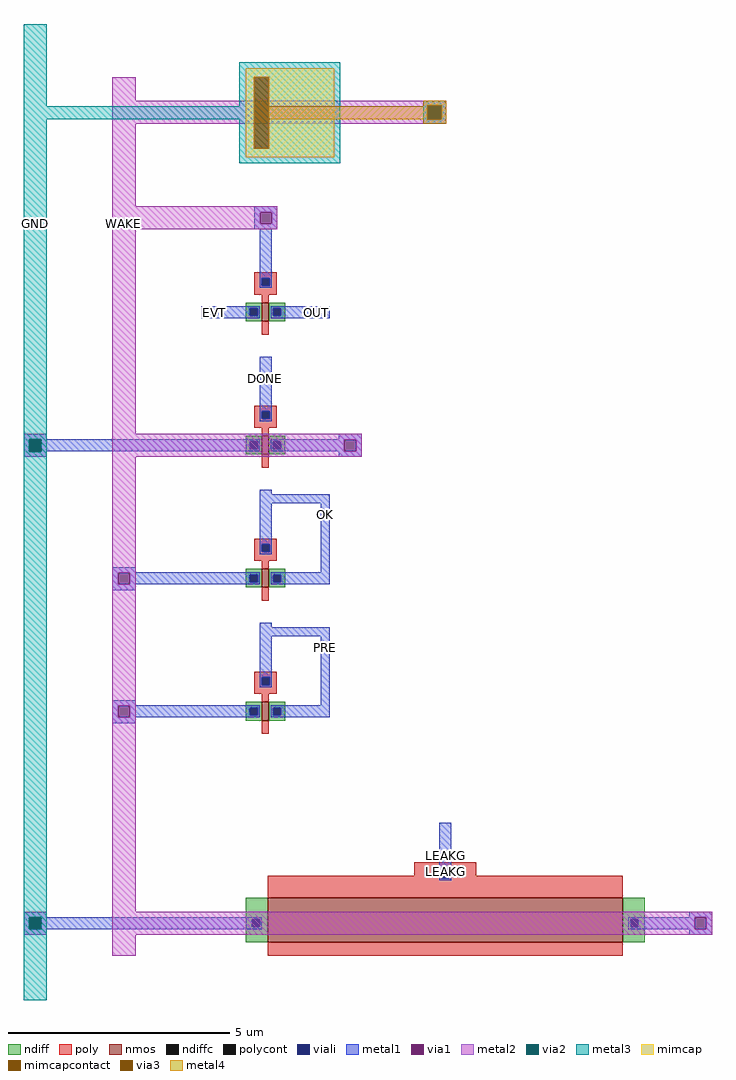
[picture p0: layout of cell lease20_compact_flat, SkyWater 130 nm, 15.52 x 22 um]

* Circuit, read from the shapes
.subckt lease20_compact_flat DONE EVT GND LEAKG OK OUT PRE WAKE
XM1 PRE PRE WAKE VSUBS sky130_fd_pr__nfet_01v8 w=0.42 l=0.15
XM2 OK OK WAKE VSUBS sky130_fd_pr__nfet_01v8 w=0.42 l=0.15
XM3 WAKE DONE GND VSUBS sky130_fd_pr__nfet_01v8 w=0.42 l=0.15
XM4 OUT WAKE EVT VSUBS sky130_fd_pr__nfet_01v8 w=0.42 l=0.15
XM5 WAKE LEAKG GND VSUBS sky130_fd_pr__nfet_01v8 w=1 l=8
XC6 WAKE GND sky130_fd_pr__cap_mim_m3_1 w=2 l=2
.ends

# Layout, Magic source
magic
tech sky130A
<< nmos >>
rect 37 930 52 972
rect 37 630 52 672
rect 37 330 52 372
rect 37 30 52 72
rect 50 -470 850 -370
<< ndiff >>
rect 0 959 37 972
rect 0 942 10 959
rect 27 942 37 959
rect 0 930 37 942
rect 52 959 90 972
rect 52 942 62 959
rect 79 942 90 959
rect 52 930 90 942
rect 0 659 37 672
rect 0 642 10 659
rect 27 642 37 659
rect 0 630 37 642
rect 52 659 90 672
rect 52 642 62 659
rect 79 642 90 659
rect 52 630 90 642
rect 0 359 37 372
rect 0 342 10 359
rect 27 342 37 359
rect 0 330 37 342
rect 52 359 90 372
rect 52 342 62 359
rect 79 342 90 359
rect 52 330 90 342
rect 0 59 37 72
rect 0 42 10 59
rect 27 42 37 59
rect 0 30 37 42
rect 52 59 90 72
rect 52 42 62 59
rect 79 42 90 59
rect 52 30 90 42
rect 0 -418 50 -370
rect 0 -435 15 -418
rect 32 -435 50 -418
rect 0 -470 50 -435
rect 850 -418 900 -370
rect 850 -435 868 -418
rect 885 -435 900 -418
rect 850 -470 900 -435
<< ndiffc >>
rect 10 942 27 959
rect 62 942 79 959
rect 10 642 27 659
rect 62 642 79 659
rect 10 342 27 359
rect 62 342 79 359
rect 10 42 27 59
rect 62 42 79 59
rect 15 -435 32 -418
rect 868 -435 885 -418
<< poly >>
rect 20 1027 70 1040
rect 20 1010 37 1027
rect 54 1010 70 1027
rect 20 990 70 1010
rect 37 972 52 990
rect 37 900 52 930
rect 20 727 70 740
rect 20 710 37 727
rect 54 710 70 727
rect 20 690 70 710
rect 37 672 52 690
rect 37 600 52 630
rect 20 427 70 440
rect 20 410 37 427
rect 54 410 70 427
rect 20 390 70 410
rect 37 372 52 390
rect 37 300 52 330
rect 20 127 70 140
rect 20 110 37 127
rect 54 110 70 127
rect 20 90 70 110
rect 37 72 52 90
rect 37 0 52 30
rect 380 -308 520 -290
rect 380 -320 442 -308
rect 50 -325 442 -320
rect 459 -320 520 -308
rect 459 -325 850 -320
rect 50 -370 850 -325
rect 50 -500 850 -470
<< polycont >>
rect 37 1010 54 1027
rect 37 710 54 727
rect 37 410 54 427
rect 37 110 54 127
rect 442 -325 459 -308
<< viali >>
rect 37 1010 54 1027
rect 10 942 27 959
rect 62 942 79 959
rect 37 710 54 727
rect 10 642 27 659
rect 62 642 79 659
rect 37 410 54 427
rect 10 342 27 359
rect 62 342 79 359
rect 37 110 54 127
rect 10 42 27 59
rect 62 42 79 59
rect 442 -325 459 -308
rect 15 -435 32 -418
rect 868 -435 885 -418
<< metal1 >>
rect 20 1176 72 1189
rect 20 1150 33 1176
rect 59 1150 72 1176
rect 20 1137 72 1150
rect 32 1027 59 1137
rect 32 1010 37 1027
rect 54 1010 59 1027
rect 32 1005 59 1010
rect -100 959 32 964
rect -100 942 10 959
rect 27 942 32 959
rect -100 937 32 942
rect 57 959 190 964
rect 57 942 62 959
rect 79 942 190 959
rect 57 937 190 942
rect 32 727 59 850
rect 32 710 37 727
rect 54 710 59 727
rect 32 705 59 710
rect -500 664 -448 676
rect 210 664 262 676
rect -500 663 32 664
rect -500 637 -487 663
rect -461 659 32 663
rect -461 642 10 659
rect 27 642 32 659
rect -461 637 32 642
rect 57 663 262 664
rect 57 659 223 663
rect 57 642 62 659
rect 79 642 223 659
rect 57 637 223 642
rect 249 637 262 663
rect -500 624 -448 637
rect 210 624 262 637
rect 32 540 59 550
rect 32 520 190 540
rect 32 427 59 520
rect 32 410 37 427
rect 54 410 59 427
rect 32 405 59 410
rect -300 364 -248 376
rect 170 364 190 520
rect -300 363 32 364
rect -300 337 -287 363
rect -261 359 32 363
rect -261 342 10 359
rect 27 342 32 359
rect -261 337 32 342
rect 57 359 190 364
rect 57 342 62 359
rect 79 342 190 359
rect 57 337 190 342
rect -300 324 -248 337
rect 32 240 59 250
rect 32 220 190 240
rect 32 127 59 220
rect 32 110 37 127
rect 54 110 59 127
rect 32 105 59 110
rect -300 64 -248 76
rect 170 64 190 220
rect -300 63 32 64
rect -300 37 -287 63
rect -261 59 32 63
rect -261 42 10 59
rect 27 42 32 59
rect -261 37 32 42
rect 57 59 190 64
rect 57 42 62 59
rect 79 42 190 59
rect 57 37 190 42
rect -300 24 -248 37
rect 437 -308 464 -200
rect 437 -325 442 -308
rect 459 -325 464 -308
rect 437 -330 464 -325
rect -500 -413 -448 -401
rect 1000 -413 1052 -401
rect -500 -414 37 -413
rect -500 -440 -487 -414
rect -461 -418 37 -414
rect -461 -435 15 -418
rect 32 -435 37 -418
rect -461 -440 37 -435
rect 863 -414 1052 -413
rect 863 -418 1013 -414
rect 863 -435 868 -418
rect 885 -435 1013 -418
rect 863 -440 1013 -435
rect 1039 -440 1052 -414
rect -500 -453 -448 -440
rect 1000 -453 1052 -440
<< via1 >>
rect 33 1150 59 1176
rect -487 637 -461 663
rect 223 637 249 663
rect -287 337 -261 363
rect -287 37 -261 63
rect -487 -440 -461 -414
rect 1013 -440 1039 -414
<< metal2 >>
rect -300 1427 -248 1480
rect -300 1415 452 1427
rect -300 1387 412 1415
rect 440 1387 452 1415
rect -300 1375 452 1387
rect -300 1189 -248 1375
rect -300 1176 72 1189
rect -300 1150 33 1176
rect 59 1150 72 1176
rect -300 1137 72 1150
rect -300 676 -248 1137
rect -500 664 -448 676
rect -500 636 -488 664
rect -460 636 -448 664
rect -500 624 -448 636
rect -300 663 262 676
rect -300 637 223 663
rect 249 637 262 663
rect -300 624 262 637
rect -300 363 -248 624
rect -300 337 -287 363
rect -261 337 -248 363
rect -300 63 -248 337
rect -300 37 -287 63
rect -261 37 -248 63
rect -300 -401 -248 37
rect -500 -413 -448 -401
rect -500 -441 -488 -413
rect -460 -441 -448 -413
rect -500 -453 -448 -441
rect -300 -414 1052 -401
rect -300 -440 1013 -414
rect 1039 -440 1052 -414
rect -300 -453 1052 -440
rect -300 -500 -248 -453
<< via2 >>
rect 412 1387 440 1415
rect -488 663 -460 664
rect -488 637 -487 663
rect -487 637 -461 663
rect -461 637 -460 663
rect -488 636 -460 637
rect -488 -414 -460 -413
rect -488 -440 -487 -414
rect -487 -440 -461 -414
rect -461 -440 -460 -414
rect -488 -441 -460 -440
<< metal3 >>
rect -500 1415 -448 1600
rect -14 1415 214 1514
rect -500 1385 214 1415
rect -500 664 -448 1385
rect -14 1286 214 1385
rect 400 1417 452 1427
rect 400 1385 410 1417
rect 442 1385 452 1417
rect 400 1375 452 1385
rect -500 636 -488 664
rect -460 636 -448 664
rect -500 -413 -448 636
rect -500 -441 -488 -413
rect -460 -441 -448 -413
rect -500 -600 -448 -441
<< via3 >>
rect 410 1415 442 1417
rect 410 1387 412 1415
rect 412 1387 440 1415
rect 440 1387 442 1415
rect 410 1385 442 1387
<< mimcap >>
rect 0 1480 200 1500
rect 0 1320 20 1480
rect 52 1320 200 1480
rect 0 1300 200 1320
<< mimcapcontact >>
rect 20 1320 52 1480
<< metal4 >>
rect 19 1480 53 1481
rect 19 1320 20 1480
rect 52 1415 53 1480
rect 400 1417 452 1427
rect 400 1415 410 1417
rect 52 1385 410 1415
rect 442 1385 452 1417
rect 52 1320 53 1385
rect 400 1375 452 1385
rect 19 1319 53 1320
<< labels >>
rlabel metal1 170 180 190 210 0 PRE
rlabel metal1 170 480 190 510 0 OK
rlabel metal1 35 780 57 820 0 DONE
rlabel metal1 -90 939 -50 962 0 EVT
rlabel metal1 140 939 180 962 0 OUT
rlabel space 440 -330 462 -290 0 LEAKG
rlabel metal2 -290 1100 -258 1200 0 WAKE
rlabel metal3 -490 1100 -458 1200 0 GND
rlabel metal1 32 780 59 820 0 DONE
rlabel metal1 -90 937 0 964 0 EVT
rlabel metal1 100 937 180 964 0 OUT
rlabel metal1 437 -300 464 -250 0 LEAKG
<< end >>
